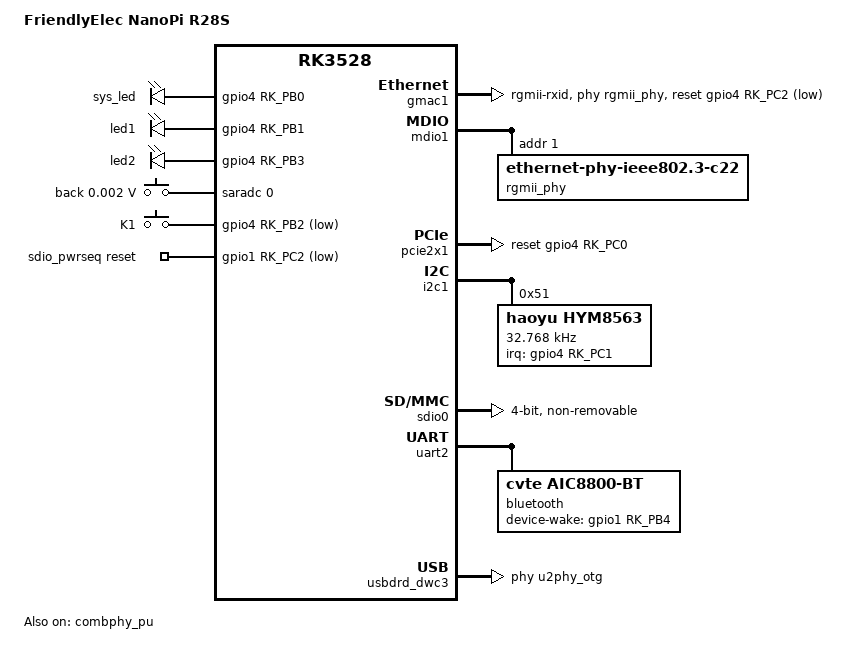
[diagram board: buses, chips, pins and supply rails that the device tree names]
// SPDX-License-Identifier: (GPL-2.0+ OR MIT)
/*
 * Copyright (c) 2026 FriendlyElec Computer Tech. Co., Ltd.
 * (http://www.friendlyelec.com)
 */

/dts-v1/;

#include "rk3528-nanopi-common.dtsi"

/ {
	model = "FriendlyElec NanoPi R28S";
	compatible = "friendlyelec,nanopi-r28s", "rockchip,rk3528";

	aliases {
		ethernet0 = &gmac1;
		ethernet1 = &r8111h;
	};

	leds: gpio-leds {
		compatible = "gpio-leds";

		sys_led: led-0 {
			gpios = <&gpio4 RK_PB0 GPIO_ACTIVE_HIGH>;
			label = "sys_led";
			linux,default-trigger = "heartbeat";
			pinctrl-names = "default";
			pinctrl-0 = <&sys_led_pin>;
		};

		usr_led1: led-1 {
			gpios = <&gpio4 RK_PB1 GPIO_ACTIVE_HIGH>;
			label = "led1";
			pinctrl-names = "default";
			pinctrl-0 = <&usr_led1_pin>;
		};

		usr_led2: led-2 {
			gpios = <&gpio4 RK_PB3 GPIO_ACTIVE_HIGH>;
			label = "led2";
			pinctrl-names = "default";
			pinctrl-0 = <&usr_led2_pin>;
		};
	};

	adc_keys: adc-keys {
		compatible = "adc-keys";
		io-channels = <&saradc 0>;
		io-channel-names = "buttons";
		keyup-threshold-microvolt = <1800000>;
		poll-interval = <100>;

		back-key {
			label = "back";
			linux,code = <KEY_BACK>;
			press-threshold-microvolt = <1750>;
		};
	};

	gpio_keys: gpio-keys {
		compatible = "gpio-keys";
		pinctrl-names = "default";
		pinctrl-0 = <&key1_pin>;

		button@1 {
			debounce-interval = <50>;
			gpios = <&gpio4 RK_PB2 GPIO_ACTIVE_LOW>;
			label = "K1";
			linux,code = <BTN_1>;
			wakeup-source;
		};
	};

	sdio_pwrseq: sdio-pwrseq {
		compatible = "mmc-pwrseq-simple";
		pinctrl-names = "default";
		pinctrl-0 = <&wifi_enable_h>;

		post-power-on-delay-ms = <50>;
		reset-gpios = <&gpio1 RK_PC2 GPIO_ACTIVE_LOW>;
	};
};

&mach {
	hwrev = <3>;
	model = "NanoPi R28S";
};

&gmac1 {
	/* Use rgmii-rxid mode to disable rx delay inside Soc */
	phy-mode = "rgmii-rxid";
	clock_in_out = "output";

	snps,reset-gpio = <&gpio4 RK_PC2 GPIO_ACTIVE_LOW>;
	snps,reset-active-low;
	/* Reset time is 20ms, 100ms for rtl8211f */
	snps,reset-delays-us = <0 20000 100000>;

	tx_delay = <0x30>;
	/* rx_delay = <0x3f>; */

	pinctrl-names = "default";
	pinctrl-0 = <&rgmii_miim
		     &rgmii_tx_bus2
		     &rgmii_rx_bus2
		     &rgmii_rgmii_clk
		     &rgmii_rgmii_bus
		     &eth_pins>;

	phy-handle = <&rgmii_phy>;
	status = "okay";
};

&mdio1 {
	rgmii_phy: phy@1 {
		compatible = "ethernet-phy-ieee802.3-c22";
		reg = <0x1>;
		realtek,ledsel = <0xae00>;
	};
};

&pcie2x1 {
	pinctrl-names = "default";
	pinctrl-0 = <&pciem1_pins>;
	reset-gpios = <&gpio4 RK_PC0 GPIO_ACTIVE_HIGH>;
	resets = <&cru SRST_RESETN_PCIE_POWER_UP>, <&cru SRST_PRESETN_PCIE>;
	reset-names = "pcie", "periph";
	rockchip,skip-scan-in-resume;
	rockchip,skip-hw-retry;
	status = "okay";

	pcie@0,0 {
		reg = <0x00000000 0 0 0 0>;
		#address-cells = <3>;
		#size-cells = <2>;

		r8111h: pcie@0,0 {
			reg = <0x000000 0 0 0 0>;
			local-mac-address = [ 00 00 00 00 00 00 ];
		};
	};
};

&combphy_pu {
	status = "okay";
};

&i2c1 {
	status = "okay";
	pinctrl-names = "default";
	pinctrl-0 = <&i2c1m0_xfer>;

	hym8563: hym8563@51 {
		compatible = "haoyu,hym8563";
		reg = <0x51>;
		#clock-cells = <0>;
		clock-frequency = <32768>;
		clock-output-names = "hym8563";
		pinctrl-names = "default";
		pinctrl-0 = <&rtc_int>;

		interrupt-parent = <&gpio4>;
		interrupts = <RK_PC1 IRQ_TYPE_LEVEL_LOW>;
		wakeup-source;
	};
};

&pciem1_pins {
	rockchip,pins =
		/* pcie_reset_gpio */
		<4 RK_PC0 RK_FUNC_GPIO &pcfg_pull_none>;
};

&pinctrl {
	leds {
		sys_led_pin: sys-led-pin {
			rockchip,pins = <4 RK_PB0 RK_FUNC_GPIO &pcfg_pull_none>;
		};

		usr_led1_pin: usr-led1-pin {
			rockchip,pins = <4 RK_PB1 RK_FUNC_GPIO &pcfg_pull_none>;
		};

		usr_led2_pin: usr-led2-pin {
			rockchip,pins = <4 RK_PB3 RK_FUNC_GPIO &pcfg_pull_none>;
		};
	};

	hym8563 {
		rtc_int: rtc-int {
			rockchip,pins = <4 RK_PC1 RK_FUNC_GPIO &pcfg_pull_none>;
		};
	};

	gpio-key {
		key1_pin: key1-pin {
			rockchip,pins = <4 RK_PB2 RK_FUNC_GPIO &pcfg_pull_up>;
		};
	};

	sdio-pwrseq {
		wifi_enable_h: wifi-enable-h {
			rockchip,pins = <1 RK_PC2 RK_FUNC_GPIO &pcfg_pull_none>;
		};
	};
};

&sdio0 {
	max-frequency = <150000000>;
	no-sd;
	no-mmc;
	supports-sdio;
	bus-width = <4>;
	disable-wp;
	cap-sd-highspeed;
	cap-sdio-irq;
	keep-power-in-suspend;
	non-removable;
	mmc-pwrseq = <&sdio_pwrseq>;
	pinctrl-names = "default";
	pinctrl-0 = <&sdio0_bus4 &sdio0_cmd &sdio0_clk>;
	sd-uhs-sdr104;
	vqmmc-supply = <&vdd_1v8_s3>;
	status = "okay";
};

&uart2 {
	pinctrl-names = "default";
	pinctrl-0 = <&uart2m1_xfer &uart2m1_ctsn &uart2m1_rtsn>;
	status = "okay";

	bluetooth {
		compatible = "cvte,aic8800-bt";
		device-wake-gpios = <&gpio1 RK_PB4 GPIO_ACTIVE_HIGH>;
	};
};

&usbdrd_dwc3 {
	maximum-speed = "high-speed";
	phys = <&u2phy_otg>;
	phy-names = "usb2-phy";
};
